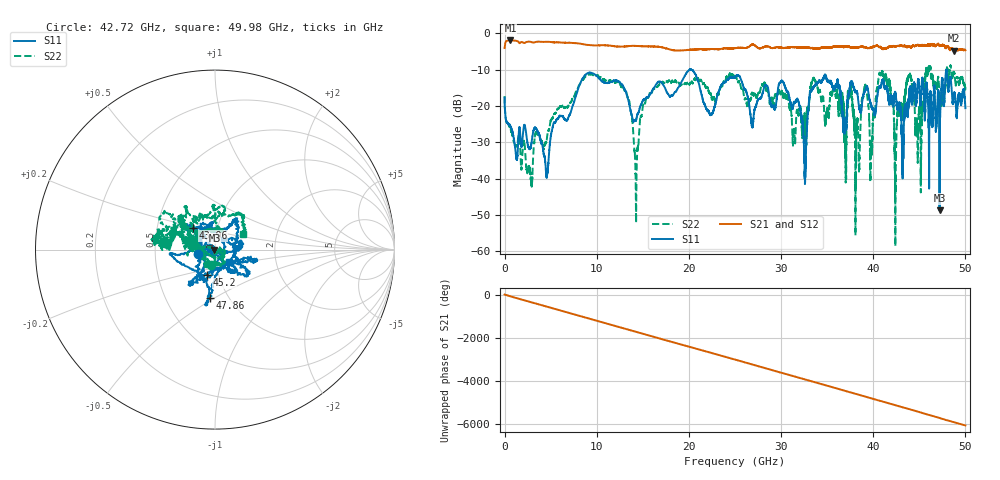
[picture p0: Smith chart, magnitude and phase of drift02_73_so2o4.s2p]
!Created with skrf (http://scikit-rf.org).
# Hz S RI R 50.0
!freq ReS11 ImS11 ReS21 ImS21 ReS12 ImS12 ReS22 ImS22
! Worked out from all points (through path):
!   10001 points, 300 kHz to 50 GHz, reference 50 ohm
!   highest |S21| = -1.99 dB at 630.3 MHz (marker M1); lowest = -4.8 dB at 48.77 GHz (marker M2)
!   group delay of S21, straight-line fit = 337 ps
!   lowest |S11| = -48.7 dB at 47.2 GHz (marker M3), VSWR 1.01, Z = 49.7 - j0.142 ohm
!   |S11| at or under -10 dB: start of sweep to 20.07 GHz; 20.20621 GHz to 20.22195 GHz (15.74 MHz wide, 0.0779 % of centre); 20.24 GHz to end of sweep (the widest 3 of 5)
!   |S22| runs from -58.5 to -8.8 dB; largest |S21 - S12| = 0.032
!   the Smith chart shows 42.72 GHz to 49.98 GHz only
!   S11 on the Smith chart (normalised r, x): 42.72 GHz: 0.82, -0.04; 43.96 GHz: 0.76, +0.19; 45.2 GHz: 0.88, -0.26; 47.86 GHz: 0.82, -0.48; 49.98 GHz: 1.16, -0.16
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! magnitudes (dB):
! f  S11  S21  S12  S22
! 300 kHz  -17.7  -4.1  -4.0  -17.3
! 630.3 MHz  -25.5  -2.0  -2.0  -26.4
! 4.565 GHz  -39.6  -2.4  -2.4  -29.4
! 8.335 GHz  -13.0  -2.9  -2.9  -13.2
! 13.01 GHz  -15.3  -3.7  -3.6  -15.7
! 14.28 GHz  -23.8  -3.5  -3.5  -48.7
! 16.67 GHz  -13.3  -3.7  -3.7  -14.5
! 25 GHz  -12.1  -4.1  -4.1  -12.2
! 30.19 GHz  -13.4  -4.1  -4.1  -16.9
! 32.58 GHz  -39.4  -3.9  -3.9  -24.8
! 33.34 GHz  -15.7  -4.0  -4.0  -13.6
! 37.49 GHz  -14.5  -3.8  -3.8  -15.9
! 38.3 GHz  -16.8  -3.9  -3.8  -24.4
! 41.67 GHz  -18.1  -3.7  -3.8  -13.0
! 42.72 GHz  -20.1  -3.5  -3.4  -21.1
! 43.96 GHz  -15.2  -3.6  -3.7  -11.3
! 45.2 GHz  -16.5  -3.4  -3.3  -31.6
! 47.2 GHz  -48.7  -3.5  -3.4  -17.3
! 47.86 GHz  -11.3  -4.0  -4.0  -14.4
! 48.77 GHz  -17.2  -4.8  -4.8  -10.7
! 49.98 GHz  -19.9  -4.6  -4.5  -14.9
! 50 GHz  -20.6  -4.7  -4.6  -15.7
